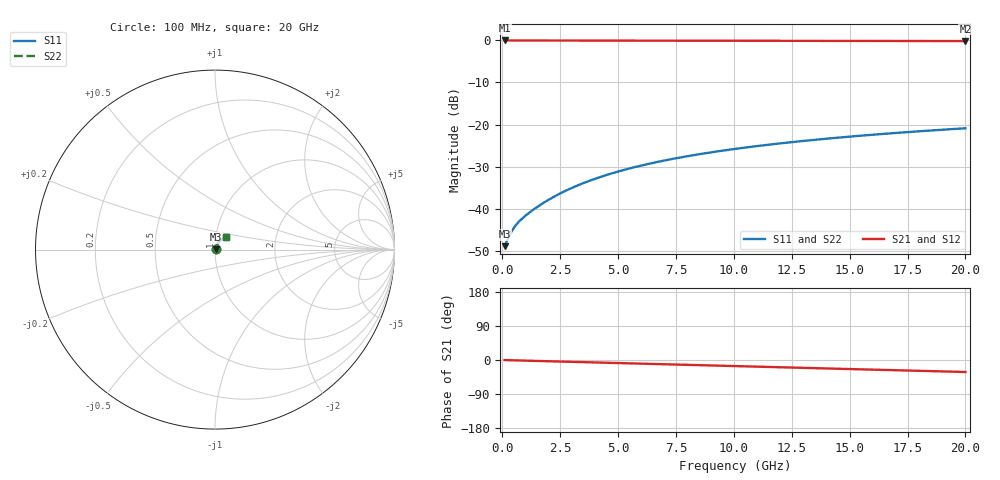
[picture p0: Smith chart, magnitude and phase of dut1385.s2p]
! Touchstone file exported from HFSS 2026.1.0
!  File:  C:/ffzhzh/LocalFiles/Ansys_Project_Files/temp_train_TMRDL_1385_1783166112_18472.aedt
!  Generated:  07:56:18 PM Jul  4, 2026
!  Design:  TMRDL
!  Project:  temp_train_TMRDL_1385_1783166112_18472
! Variables:
!  h_bsmrdl = 2um
!  h_ox = 20um
!  h_rdl = 5um
!  h_sub = 80um
!  h_tmrdl = 2.94um
!  h_tsv = 80um
!  h_via = 3um
!  l_bsmrdl = 300um
!  l_sub = 951.66um
!  l_tmrdl = 551.66um
!  m_sub = 200um
!  pitch = 26.24um
!  r_tsv = 6um
!  s_tmrdl = 10um
!  w_bsmrdl = 18um
!  w_sub = 500um
!  w_tmrdl = 20.61um
!  x_tsv_center1 = 561.965um
!  x_tsv_center2 = 879.965um
!  x_tsv_center3 = 1452.235um
!  x_tsv_center4 = 1770.235um
!  x_tsv_center5 = 2342.505um
!  x_tsv_center6 = 2660.505um
# GHz S MA R 50.000000
! Terminal data exported
! Port[1] = TM_RDL1_1_T1
! Port[2] = TM_RDL1_1_T2
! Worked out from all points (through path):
!   200 points, 100 MHz to 20 GHz, reference 50 ohm
!   highest |S21| = -0.03 dB at 100 MHz (marker M1); lowest = -0.2 dB at 20 GHz (marker M2)
!   group delay of S21, straight-line fit = 4.38 ps
!   lowest |S11| = -48.8 dB at 100 MHz (marker M3), VSWR 1.01, Z = 50.3 + j0.0975 ohm
!   |S11| at or under -10 dB: start of sweep to end of sweep
!   |S22| runs from -48.8 to -20.9 dB; largest |S21 - S12| = 3.1e-15
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0.1  0.003619 15.5  0.9965 -0.2  0.9965 -0.2  0.003619 15.5
! Gamma 0 0 0 0
! Port Impedance 50 0 50 0
0.3  0.004787 33.0  0.996 -0.5  0.996 -0.5  0.004787 33.0
0.4  0.005408 37.0  0.9957 -0.7  0.9957 -0.7  0.005408 37.0
0.5  0.005977 39.8  0.9955 -0.9  0.9955 -0.9  0.005977 39.8
0.6  0.006495 41.9  0.9952 -1.0  0.9952 -1.0  0.006494 41.9
0.7  0.006976 43.8  0.9951 -1.2  0.9951 -1.2  0.006975 43.8
0.9  0.007875 47.2  0.9948 -1.5  0.9948 -1.5  0.007874 47.2
1.1  0.008747 50.2  0.9946 -1.8  0.9946 -1.8  0.008745 50.2
1.6  0.01097 56.2  0.9943 -2.6  0.9943 -2.6  0.01097 56.2
2.2  0.0138 60.9  0.994 -3.6  0.994 -3.6  0.0138 60.9
2.8  0.01675 63.7  0.9937 -4.6  0.9937 -4.6  0.01674 63.7
3.5  0.02025 65.5  0.9933 -5.7  0.9933 -5.7  0.02025 65.5
4.2  0.02377 66.3  0.9928 -6.8  0.9928 -6.8  0.02377 66.3
5  0.02777 66.5  0.9923 -8.1  0.9923 -8.1  0.02777 66.6
5.9  0.03222 66.2  0.9916 -9.6  0.9916 -9.6  0.03221 66.3
6.8  0.03658 65.6  0.9909 -11.0  0.9909 -11.0  0.03658 65.6
8.3  0.04364 64.0  0.9896 -13.4  0.9896 -13.4  0.04363 64.1
10.1  0.05176 61.8  0.9879 -16.2  0.9879 -16.2  0.05175 61.9
11.7  0.05867 59.7  0.9865 -18.7  0.9865 -18.7  0.05865 59.8
13.4  0.06571 57.4  0.985 -21.4  0.985 -21.4  0.0657 57.6
16.7  0.07861 52.9  0.9823 -26.5  0.9823 -26.5  0.07858 53.1
20  0.09054 48.4  0.9798 -31.6  0.9798 -31.6  0.09051 48.5
